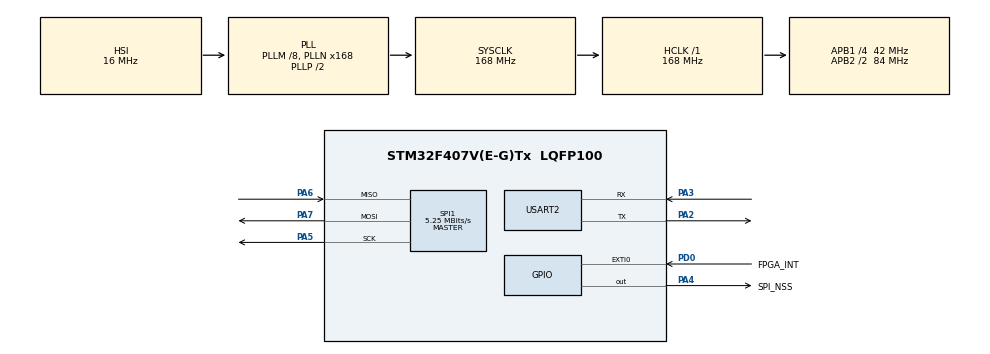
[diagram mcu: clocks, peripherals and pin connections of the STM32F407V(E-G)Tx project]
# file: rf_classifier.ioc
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Mcu.Family=STM32F4
Mcu.Name=STM32F407V(E-G)Tx
Mcu.Package=LQFP100
NVIC.EXTI0_IRQn=true\:1\:0\:true\:false\:true\:true\:true\:true
NVIC.PriorityGroup=NVIC_PRIORITYGROUP_4
PA13.Mode=Trace_Asynchronous_SW
PA13.Signal=SYS_JTMS-SWDIO
PA14.Mode=Trace_Asynchronous_SW
PA14.Signal=SYS_JTCK-SWCLK
PA2.Mode=Asynchronous
PA2.Signal=USART2_TX
PA3.Mode=Asynchronous
PA3.Signal=USART2_RX
PA4.GPIO_Label=SPI_NSS
PA4.GPIO_PuPd=GPIO_PULLUP
PA4.GPIO_Speed=GPIO_SPEED_FREQ_HIGH
PA4.PinState=GPIO_PIN_SET
PA4.Signal=GPIO_Output
PA5.Mode=Full_Duplex_Master
PA5.Signal=SPI1_SCK
PA6.Mode=Full_Duplex_Master
PA6.Signal=SPI1_MISO
PA7.Mode=Full_Duplex_Master
PA7.Signal=SPI1_MOSI
PB3.Mode=Trace_Asynchronous_SW
PB3.Signal=SYS_JTDO-SWO
PD0.GPIO_Label=FPGA_INT
PD0.GPIO_PuPd=GPIO_PULLDOWN
PD0.Signal=GPXTI0
PH0-OSC_IN.Mode=HSE-External-Oscillator
PH0-OSC_IN.Signal=RCC_OSC_IN
PH1-OSC_OUT.Mode=HSE-External-Oscillator
PH1-OSC_OUT.Signal=RCC_OSC_OUT
ProjectManager.HeapSize=0x800
ProjectManager.StackSize=0x800
ProjectManager.TargetToolchain=STM32CubeIDE
RCC.48MHZClocksFreq_Value=84000000
RCC.AHBFreq_Value=168000000
RCC.APB1CLKDivider=RCC_HCLK_DIV4
RCC.APB1Freq_Value=42000000
RCC.APB1TimFreq_Value=84000000
RCC.APB2CLKDivider=RCC_HCLK_DIV2
RCC.APB2Freq_Value=84000000
RCC.APB2TimFreq_Value=168000000
RCC.CortexFreq_Value=168000000
RCC.HCLKFreq_Value=168000000
RCC.HSE_VALUE=8000000
RCC.HSI_VALUE=16000000
RCC.LSE_VALUE=32768
RCC.PLLM=8
RCC.PLLN=168
RCC.SYSCLKFreq_VALUE=168000000
RCC.SYSCLKSource=RCC_SYSCLKSOURCE_PLLCLK
RCC.VCOOutputFreq_Value=336000000
SPI1.BaudRatePrescaler=SPI_BAUDRATEPRESCALER_16
SPI1.CalculateBaudRate=5.25 MBits/s
SPI1.Direction=SPI_DIRECTION_2LINES
SPI1.Mode=SPI_MODE_MASTER
SPI1.VirtualType=VM_MASTER
STMicroelectronics.X-CUBE-AI.10.1.0.HeapSize=0x800
STMicroelectronics.X-CUBE-AI.10.1.0.LatestDirectoryUsed-6cd4f47abce7a01642a7d738114f4451d311dc6affe9cf035a07d885e37e7a49=C\:\\Users\\anilo\\Documents\\own projects\\2209b
STMicroelectronics.X-CUBE-AI.10.1.0.ModelActualCompression-6cd4f47abce7a01642a7d738114f4451d311dc6affe9cf035a07d885e37e7a49=0.0
STMicroelectronics.X-CUBE-AI.10.1.0.ModelCompression-6cd4f47abce7a01642a7d738114f4451d311dc6affe9cf035a07d885e37e7a49=None
STMicroelectronics.X-CUBE-AI.10.1.0.ModelFlashOccupation-6cd4f47abce7a01642a7d738114f4451d311dc6affe9cf035a07d885e37e7a49=14917
STMicroelectronics.X-CUBE-AI.10.1.0.ModelHashList=6cd4f47abce7a01642a7d738114f4451d311dc6affe9cf035a07d885e37e7a49
STMicroelectronics.X-CUBE-AI.10.1.0.ModelKind-6cd4f47abce7a01642a7d738114f4451d311dc6affe9cf035a07d885e37e7a49=TFLITE
STMicroelectronics.X-CUBE-AI.10.1.0.ModelMacc-6cd4f47abce7a01642a7d738114f4451d311dc6affe9cf035a07d885e37e7a49=1136
STMicroelectronics.X-CUBE-AI.10.1.0.ModelName-6cd4f47abce7a01642a7d738114f4451d311dc6affe9cf035a07d885e37e7a49=rf_classifier
STMicroelectronics.X-CUBE-AI.10.1.0.ModelNameList=rf_classifier
STMicroelectronics.X-CUBE-AI.10.1.0.ModelRamOccupation-6cd4f47abce7a01642a7d738114f4451d311dc6affe9cf035a07d885e37e7a49=2944
STMicroelectronics.X-CUBE-AI.10.1.0.ModelStructureFile-6cd4f47abce7a01642a7d738114f4451d311dc6affe9cf035a07d885e37e7a49=C\:\\Users\\anilo\\Documents\\own projects\\2209b\\rf_model.tflite
STMicroelectronics.X-CUBE-AI.10.1.0.ModelType-6cd4f47abce7a01642a7d738114f4451d311dc6affe9cf035a07d885e37e7a49=STM32Cube.AI MCU runtime
STMicroelectronics.X-CUBE-AI.10.1.0.StackSize=0x800
STMicroelectronics.X-CUBE-AI.10.1.0.WorkingBufferStartAddrList=0xFFFFFFFF
STMicroelectronics.X-CUBE-AI.10.1.0.XAaCUBEAaAICcArtificialOoIntelligenceJjCore=true
USART2.VirtualMode=VM_ASYNC
VP_STMicroelectronics.X-CUBE-AI_VS_ArtificialOoIntelligenceJjXAaCUBEAaAI_10.1.0.Mode=ArtificialOoIntelligenceJjXAaCUBEAaAI
board=custom

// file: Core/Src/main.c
/* USER CODE BEGIN Header */
/**
  ******************************************************************************
  * @file           : main.c
  * @brief          : Main program body
  ******************************************************************************
  * @attention
  *
  * Copyright (c) 2026 STMicroelectronics.
  * All rights reserved.
  *
  * This software is licensed under terms that can be found in the LICENSE file
  * in the root directory of this software component.
  * If no LICENSE file comes with this software, it is provided AS-IS.
  *
  ******************************************************************************
  */
/* USER CODE END Header */
#include "main.h"
#include "spi.h"
#include "usart.h"
#include "gpio.h"

/* USER CODE BEGIN Includes */
#include <stdio.h>
#include <string.h>

/* USER CODE END Includes */

/* USER CODE BEGIN PD */
#define CMD_READ_FEATURES  0x01
#define CMD_READ_STATUS    0x02
#define SPI_FRAME_SIZE     29
/* USER CODE END PD */

/* USER CODE BEGIN PV */

// FPGA'dan yeni veri hazır bayrağı (EXTI ISR'da set edilir)
volatile uint8_t fpga_data_ready = 0;

// SPI transfer buffer'ları
uint8_t spi_tx_buffer[29];
uint8_t spi_rx_buffer[29];

// 14 öznitelik (parse edilmiş)
int16_t features[14];

/* USER CODE END PV */

void SystemClock_Config(void);
/* USER CODE BEGIN PFP */

int __io_putchar(int ch)
{
    ITM_SendChar(ch);
    return ch;
}

void spi_read_features(void);
void parse_features(void);

/* USER CODE END PFP */

int main(void)
{

  /* MCU Configuration--------------------------------------------------------*/

  /* Reset of all peripherals, Initializes the Flash interface and the Systick. */
  HAL_Init();

  /* Configure the system clock */
  SystemClock_Config();

  /* Initialize all configured peripherals */
  MX_GPIO_Init();
  MX_SPI1_Init();
  MX_USART2_UART_Init();
  /* USER CODE BEGIN 2 */
  printf("\r\n========================================\r\n");
  printf("  RF Classifier - STM32F407 Boot OK\r\n");
  printf("  HCLK: 168 MHz | Output: SWO (ITM)\r\n");
  printf("========================================\r\n");

  /* USER CODE END 2 */

  /* Infinite loop */
  while (1)
  {

    /* USER CODE BEGIN 3 */
	  if (fpga_data_ready)
	     {
	         fpga_data_ready = 0;

	         spi_read_features();
	         parse_features();

	         uint8_t status = spi_rx_buffer[0];

	         if (status & 0x01)
	         {
	             printf("%d,%d,%d,%d,%d,%d,%d,%d,%d,%d,%d,%d,%d,%d\r\n",
	                    features[0],  features[1],  features[2],  features[3],
	                    features[4],  features[5],  features[6],  features[7],
	                    features[8],  features[9],  features[10], features[11],
	                    features[12], features[13]);
	         }
	     }
	 }   // while kapanıyor

        // geçici test fpga olmadan test çıktısı
         static uint32_t last_tick = 0;
         if (HAL_GetTick() -last_tick >=1000)
         {
        	 last_tick =HAL_GetTick();
        	 printf("test alive: %lu ms/r/n" , HAL_GetTick());

         }
  /* USER CODE END 3 */
}

void SystemClock_Config(void)
{
  RCC_OscInitTypeDef RCC_OscInitStruct = {0};
  RCC_ClkInitTypeDef RCC_ClkInitStruct = {0};

  /** Configure the main internal regulator output voltage
  */
  __HAL_RCC_PWR_CLK_ENABLE();
  __HAL_PWR_VOLTAGESCALING_CONFIG(PWR_REGULATOR_VOLTAGE_SCALE1);

  /** Initializes the RCC Oscillators according to the specified parameters
  * in the RCC_OscInitTypeDef structure.
  */
  RCC_OscInitStruct.OscillatorType = RCC_OSCILLATORTYPE_HSI;
  RCC_OscInitStruct.HSIState = RCC_HSI_ON;
  RCC_OscInitStruct.HSICalibrationValue = RCC_HSICALIBRATION_DEFAULT;
  RCC_OscInitStruct.PLL.PLLState = RCC_PLL_ON;
  RCC_OscInitStruct.PLL.PLLSource = RCC_PLLSOURCE_HSI;
  RCC_OscInitStruct.PLL.PLLM = 8;
  RCC_OscInitStruct.PLL.PLLN = 168;
  RCC_OscInitStruct.PLL.PLLP = RCC_PLLP_DIV2;
  RCC_OscInitStruct.PLL.PLLQ = 4;
  if (HAL_RCC_OscConfig(&RCC_OscInitStruct) != HAL_OK)
  {
    Error_Handler();
  }

  /** Initializes the CPU, AHB and APB buses clocks
  */
  RCC_ClkInitStruct.ClockType = RCC_CLOCKTYPE_HCLK|RCC_CLOCKTYPE_SYSCLK
                              |RCC_CLOCKTYPE_PCLK1|RCC_CLOCKTYPE_PCLK2;
  RCC_ClkInitStruct.SYSCLKSource = RCC_SYSCLKSOURCE_PLLCLK;
  RCC_ClkInitStruct.AHBCLKDivider = RCC_SYSCLK_DIV1;
  RCC_ClkInitStruct.APB1CLKDivider = RCC_HCLK_DIV4;
  RCC_ClkInitStruct.APB2CLKDivider = RCC_HCLK_DIV2;

  if (HAL_RCC_ClockConfig(&RCC_ClkInitStruct, FLASH_LATENCY_5) != HAL_OK)
  {
    Error_Handler();
  }
}

/* USER CODE BEGIN 4 */
// FPGA'dan 29 byte oku (1 status + 28 feature)
void spi_read_features(void)
{
    // TX buffer hazırla: ilk byte komut, gerisi dummy
    spi_tx_buffer[0] = CMD_READ_FEATURES;
    for (int i = 1; i < SPI_FRAME_SIZE; i++)
        spi_tx_buffer[i] = 0x00;

    // SS LOW (transfer başlat)
    HAL_GPIO_WritePin(SPI_NSS_GPIO_Port, SPI_NSS_Pin, GPIO_PIN_RESET);

    // 29 byte full-duplex transfer
    HAL_SPI_TransmitReceive(&hspi1, spi_tx_buffer, spi_rx_buffer,
                            SPI_FRAME_SIZE, HAL_MAX_DELAY);

    // SS HIGH (transfer bitti)
    HAL_GPIO_WritePin(SPI_NSS_GPIO_Port, SPI_NSS_Pin, GPIO_PIN_SET);
}

// rx_buffer'daki big-endian 16-bit değerleri int16_t diziye çevir
void parse_features(void)
{
    // rx_buffer[0] = status byte
    // rx_buffer[1..28] = 14 x (MSB, LSB)
    for (int i = 0; i < 14; i++)
    {
        uint8_t msb = spi_rx_buffer[1 + i*2];
        uint8_t lsb = spi_rx_buffer[2 + i*2];
        features[i] = (int16_t)((msb << 8) | lsb);
    }
}

// FPGA INT pini (PD0) yükselen kenar kesmesi
void HAL_GPIO_EXTI_Callback(uint16_t GPIO_Pin)
{
    if (GPIO_Pin == FPGA_INT_Pin)
    {
        fpga_data_ready = 1;  // Ana loop'ta işlenecek
    }
}
/* USER CODE END 4 */

void Error_Handler(void)
{
  __disable_irq();
  while (1)
  {
  }
}
